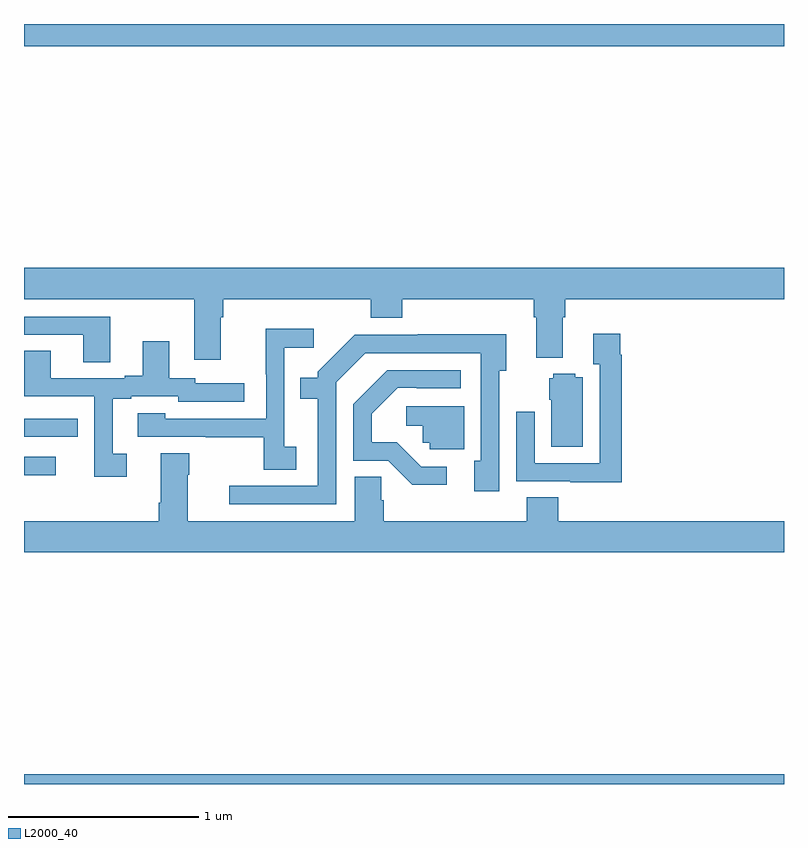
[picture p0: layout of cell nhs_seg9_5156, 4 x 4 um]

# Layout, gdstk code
import gdstk
lib = gdstk.Library(unit=1e-6, precision=1e-09)
def R(c, l, rs):  # rectangles x0, y0, x1, y1
    for r in rs: c.add(gdstk.rectangle(r[:2], r[2:], *l))
def P(c, l, *ps):  # polygons
    for p in ps: c.add(gdstk.Polygon(p, *l))
L2000_40 = (2000, 40)

nhs_seg9_5156 = lib.new_cell('nhs_seg9_5156')
R(nhs_seg9_5156, L2000_40, [(409,1228.5,413,1228.552), (409,1230.124,409.168,1230.222), (409,1232.384,413,1232.5)])
P(nhs_seg9_5156, L2000_40, [(410.035,1230.956),(410.048,1230.956),(410.048,1231.052),(410.825,1231.052),(410.825,1230.953),(410.99,1230.953),(410.99,1231.052),(411.683,1231.052),(411.683,1230.956),(411.695,1230.956),(411.695,1230.743),(411.835,1230.743),(411.835,1230.956),(411.848,1230.956),(411.848,1231.052),(413,1231.052),(413,1231.216),(409,1231.216),(409,1231.052),(409.895,1231.052),(409.895,1230.732),(410.035,1230.732)],
  [(409.453,1230.96),(409,1230.96),(409,1230.864),(409.313,1230.864),(409.313,1230.721),(409.453,1230.721)],
  [(410.434,1230.276),(410.37,1230.276),(410.37,1230.797),(410.524,1230.797),(410.524,1230.895),(410.272,1230.895),(410.272,1230.656),(410.274,1230.656),(410.274,1230.423),(409.743,1230.423),(409.743,1230.451),(409.599,1230.451),(409.599,1230.327),(409.957,1230.327),(409.957,1230.325),(410.262,1230.325),(410.262,1230.154),(410.434,1230.154)],
  [(412.145,1230.758),(412.138,1230.758),(412.138,1230.871),(411.995,1230.871),(411.995,1230.71),(412.029,1230.71),(412.029,1230.189),(411.687,1230.189),(411.687,1230.46),(411.591,1230.46),(411.591,1230.093),(411.875,1230.093),(411.875,1230.089),(412.145,1230.089)],
  [(410.643,1230.615),(410.796,1230.768),(411.405,1230.768),(411.405,1230.202),(411.371,1230.202),(411.371,1230.042),(411.501,1230.042),(411.501,1230.674),(411.538,1230.674),(411.538,1230.866),(411.073,1230.866),(411.073,1230.864),(410.742,1230.864),(410.547,1230.669),(410.547,1230.637),(410.455,1230.637),(410.455,1230.528),(410.546,1230.528),(410.546,1230.069),(410.079,1230.069),(410.079,1229.973),(410.643,1229.973)],
  [(409.54,1230.237),(409.468,1230.237),(409.468,1230.528),(409.564,1230.528),(409.564,1230.54),(409.812,1230.54),(409.812,1230.513),(410.158,1230.513),(410.158,1230.609),(409.902,1230.609),(409.902,1230.636),(409.765,1230.636),(409.765,1230.829),(409.625,1230.829),(409.625,1230.649),(409.529,1230.649),(409.529,1230.636),(409.141,1230.636),(409.141,1230.779),(409.001,1230.779),(409.001,1230.54),(409.371,1230.54),(409.371,1230.117),(409.54,1230.117)],
  [(411.226,1230.171),(411.09,1230.171),(410.963,1230.298),(410.83,1230.298),(410.83,1230.448),(410.967,1230.585),(411.067,1230.585),(411.067,1230.582),(411.298,1230.582),(411.298,1230.678),(410.912,1230.678),(410.733,1230.499),(410.733,1230.201),(410.916,1230.201),(411.044,1230.074),(411.226,1230.074)],
  [(411.94,1230.64),(411.9,1230.64),(411.9,1230.658),(411.786,1230.658),(411.786,1230.636),(411.764,1230.636),(411.764,1230.522),(411.776,1230.522),(411.776,1230.274),(411.94,1230.274)],
  [(411.316,1230.489),(411.012,1230.489),(411.012,1230.386),(411.099,1230.386),(411.099,1230.297),(411.135,1230.297),(411.135,1230.261),(411.316,1230.261)],
  [(409.282,1230.422),(409.169,1230.422),(409.169,1230.423),(409,1230.423),(409,1230.327),(409.282,1230.327)],
  [(413,1229.884),(411.812,1229.884),(411.812,1230.008),(411.647,1230.008),(411.647,1229.884),(410.894,1229.884),(410.894,1229.994),(410.879,1229.994),(410.879,1230.116),(410.741,1230.116),(410.741,1229.884),(409.861,1229.884),(409.861,1230.128),(409.869,1230.128),(409.869,1230.241),(409.721,1230.241),(409.721,1229.98),(409.709,1229.98),(409.709,1229.884),(409,1229.884),(409,1229.72),(413,1229.72)])

lib.write_gds('nhs_seg9_5156.gds')
